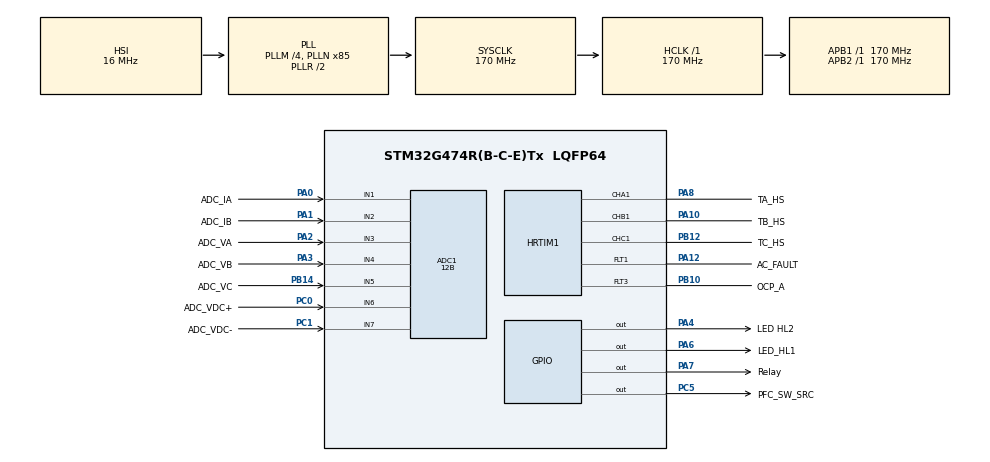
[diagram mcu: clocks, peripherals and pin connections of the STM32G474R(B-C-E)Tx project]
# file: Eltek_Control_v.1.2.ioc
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ADC1.AWD1HighThreshold=0x0
ADC1.AWD1LowThreshold=0x0
ADC1.Channel-26\#ChannelRegularConversion=ADC_CHANNEL_1
ADC1.Channel-27\#ChannelRegularConversion=ADC_CHANNEL_2
ADC1.Channel-28\#ChannelRegularConversion=ADC_CHANNEL_3
ADC1.Channel-29\#ChannelRegularConversion=ADC_CHANNEL_4
ADC1.Channel-30\#ChannelRegularConversion=ADC_CHANNEL_6
ADC1.Channel-31\#ChannelRegularConversion=ADC_CHANNEL_7
ADC1.Channel-32\#ChannelRegularConversion=ADC_CHANNEL_TEMPSENSOR_ADC1
ADC1.Channel-34\#ChannelRegularConversion=ADC_CHANNEL_1
ADC1.ClockPrescaler=ADC_CLOCK_SYNC_PCLK_DIV4
ADC1.ContinuousConvMode=ENABLE
ADC1.DMAContinuousRequests=ENABLE
ADC1.DataAlign=ADC_DATAALIGN_RIGHT
ADC1.DiscontinuousConvMode=DISABLE
ADC1.EOCSelection=ADC_EOC_SINGLE_CONV
ADC1.EnableAnalogWatchDog1=true
ADC1.EnableInjectedConversion=DISABLE
ADC1.EnableRegularConversion=ENABLE
ADC1.GainCompensation=0
ADC1.LowPowerAutoWait=DISABLE
ADC1.NbrOfConversion=8
ADC1.NbrOfConversionFlag=1
ADC1.OffsetNumber-26\#ChannelRegularConversion=ADC_OFFSET_NONE
ADC1.OffsetNumber-27\#ChannelRegularConversion=ADC_OFFSET_NONE
ADC1.OffsetNumber-28\#ChannelRegularConversion=ADC_OFFSET_NONE
ADC1.OffsetNumber-29\#ChannelRegularConversion=ADC_OFFSET_NONE
ADC1.OffsetNumber-30\#ChannelRegularConversion=ADC_OFFSET_NONE
ADC1.OffsetNumber-31\#ChannelRegularConversion=ADC_OFFSET_NONE
ADC1.OffsetNumber-32\#ChannelRegularConversion=ADC_OFFSET_NONE
ADC1.OffsetNumber-34\#ChannelRegularConversion=ADC_OFFSET_NONE
ADC1.Overrun=ADC_OVR_DATA_PRESERVED
ADC1.OversamplingMode=ENABLE
ADC1.Rank-26\#ChannelRegularConversion=1
ADC1.Rank-27\#ChannelRegularConversion=2
ADC1.Rank-28\#ChannelRegularConversion=3
ADC1.Rank-29\#ChannelRegularConversion=4
ADC1.Rank-30\#ChannelRegularConversion=5
ADC1.Rank-31\#ChannelRegularConversion=6
ADC1.Rank-32\#ChannelRegularConversion=7
ADC1.Rank-34\#ChannelRegularConversion=8
ADC1.Ratio=ADC_OVERSAMPLING_RATIO_8
ADC1.Resolution=ADC_RESOLUTION_12B
ADC1.RightBitShift=ADC_RIGHTBITSHIFT_3
ADC1.SamplingTime-26\#ChannelRegularConversion=ADC_SAMPLETIME_6CYCLES_5
ADC1.SamplingTime-27\#ChannelRegularConversion=ADC_SAMPLETIME_6CYCLES_5
ADC1.SamplingTime-28\#ChannelRegularConversion=ADC_SAMPLETIME_6CYCLES_5
ADC1.SamplingTime-29\#ChannelRegularConversion=ADC_SAMPLETIME_12CYCLES_5
ADC1.SamplingTime-30\#ChannelRegularConversion=ADC_SAMPLETIME_12CYCLES_5
ADC1.SamplingTime-31\#ChannelRegularConversion=ADC_SAMPLETIME_12CYCLES_5
ADC1.SamplingTime-32\#ChannelRegularConversion=ADC_SAMPLETIME_12CYCLES_5
ADC1.SamplingTime-34\#ChannelRegularConversion=ADC_SAMPLETIME_2CYCLES_5
ADC1.ScanConvMode=ADC_SCAN_ENABLE
ADC1.WatchdogChannel=ADC_CHANNEL_1
ADC1.master=1
ADC5.Channel-67\#ChannelRegularConversion=ADC_CHANNEL_TEMPSENSOR_ADC5
ADC5.NbrOfConversionFlag=1
ADC5.OffsetNumber-67\#ChannelRegularConversion=ADC_OFFSET_NONE
ADC5.Rank-67\#ChannelRegularConversion=1
ADC5.SamplingTime-67\#ChannelRegularConversion=ADC_SAMPLETIME_2CYCLES_5
Dma.ADC1.0.Direction=DMA_PERIPH_TO_MEMORY
Dma.ADC1.0.EventEnable=DISABLE
Dma.ADC1.0.Instance=DMA1_Channel4
Dma.ADC1.0.MemDataAlignment=DMA_MDATAALIGN_WORD
Dma.ADC1.0.MemInc=DMA_MINC_ENABLE
Dma.ADC1.0.Mode=DMA_CIRCULAR
Dma.ADC1.0.PeriphDataAlignment=DMA_PDATAALIGN_WORD
Dma.ADC1.0.PeriphInc=DMA_PINC_DISABLE
Dma.ADC1.0.Polarity=HAL_DMAMUX_REQ_GEN_RISING
Dma.ADC1.0.Priority=DMA_PRIORITY_LOW
Dma.ADC1.0.RequestNumber=1
Dma.ADC1.0.SignalID=HAL_DMAMUX1_REQ_GEN_EXTI0
Dma.ADC1.0.SyncEnable=DISABLE
Dma.ADC1.0.SyncPolarity=HAL_DMAMUX_SYNC_NO_EVENT
Dma.ADC1.0.SyncRequestNumber=1
Dma.ADC1.0.SyncSignalID=NONE
Dma.HRTIM1_A.1.Direction=DMA_MEMORY_TO_PERIPH
Dma.HRTIM1_A.1.EventEnable=ENABLE
Dma.HRTIM1_A.1.Instance=DMA1_Channel1
Dma.HRTIM1_A.1.MemDataAlignment=DMA_MDATAALIGN_WORD
Dma.HRTIM1_A.1.MemInc=DMA_MINC_ENABLE
Dma.HRTIM1_A.1.Mode=DMA_CIRCULAR
Dma.HRTIM1_A.1.PeriphDataAlignment=DMA_PDATAALIGN_WORD
Dma.HRTIM1_A.1.PeriphInc=DMA_PINC_DISABLE
Dma.HRTIM1_A.1.Polarity=HAL_DMAMUX_REQ_GEN_RISING
Dma.HRTIM1_A.1.Priority=DMA_PRIORITY_HIGH
Dma.HRTIM1_A.1.RequestNumber=1
Dma.HRTIM1_A.1.SignalID=NONE
Dma.HRTIM1_A.1.SyncEnable=DISABLE
Dma.HRTIM1_A.1.SyncPolarity=HAL_DMAMUX_SYNC_NO_EVENT
Dma.HRTIM1_A.1.SyncRequestNumber=1
Dma.HRTIM1_A.1.SyncSignalID=NONE
Dma.HRTIM1_B.2.Direction=DMA_MEMORY_TO_PERIPH
Dma.HRTIM1_B.2.EventEnable=ENABLE
Dma.HRTIM1_B.2.Instance=DMA1_Channel2
Dma.HRTIM1_B.2.MemDataAlignment=DMA_MDATAALIGN_WORD
Dma.HRTIM1_B.2.MemInc=DMA_MINC_ENABLE
Dma.HRTIM1_B.2.Mode=DMA_CIRCULAR
Dma.HRTIM1_B.2.PeriphDataAlignment=DMA_PDATAALIGN_WORD
Dma.HRTIM1_B.2.PeriphInc=DMA_PINC_DISABLE
Dma.HRTIM1_B.2.Polarity=HAL_DMAMUX_REQ_GEN_RISING
Dma.HRTIM1_B.2.Priority=DMA_PRIORITY_HIGH
Dma.HRTIM1_B.2.RequestNumber=1
Dma.HRTIM1_B.2.SignalID=NONE
Dma.HRTIM1_B.2.SyncEnable=DISABLE
Dma.HRTIM1_B.2.SyncPolarity=HAL_DMAMUX_SYNC_NO_EVENT
Dma.HRTIM1_B.2.SyncRequestNumber=1
Dma.HRTIM1_B.2.SyncSignalID=NONE
Dma.HRTIM1_C.3.Direction=DMA_MEMORY_TO_PERIPH
Dma.HRTIM1_C.3.EventEnable=ENABLE
Dma.HRTIM1_C.3.Instance=DMA1_Channel3
Dma.HRTIM1_C.3.MemDataAlignment=DMA_MDATAALIGN_WORD
Dma.HRTIM1_C.3.MemInc=DMA_MINC_ENABLE
Dma.HRTIM1_C.3.Mode=DMA_CIRCULAR
Dma.HRTIM1_C.3.PeriphDataAlignment=DMA_PDATAALIGN_WORD
Dma.HRTIM1_C.3.PeriphInc=DMA_PINC_DISABLE
Dma.HRTIM1_C.3.Polarity=HAL_DMAMUX_REQ_GEN_RISING
Dma.HRTIM1_C.3.Priority=DMA_PRIORITY_HIGH
Dma.HRTIM1_C.3.RequestNumber=1
Dma.HRTIM1_C.3.SignalID=NONE
Dma.HRTIM1_C.3.SyncEnable=DISABLE
Dma.HRTIM1_C.3.SyncPolarity=HAL_DMAMUX_SYNC_NO_EVENT
Dma.HRTIM1_C.3.SyncRequestNumber=1
Dma.HRTIM1_C.3.SyncSignalID=NONE
Dma.Request0=ADC1
Dma.Request1=HRTIM1_A
Dma.Request2=HRTIM1_B
Dma.Request3=HRTIM1_C
HRTIM1.CompareUnit1-Output_TA1=HRTIM_COMPAREUNIT_1
HRTIM1.CompareUnit1-Output_TB1=HRTIM_COMPAREUNIT_1
HRTIM1.CompareUnit1-Output_TC1=HRTIM_COMPAREUNIT_1
HRTIM1.CompareUnit2-Output_TA1=__NULL
HRTIM1.CompareUnit3-Output_TA1=HRTIM_COMPAREUNIT_3
HRTIM1.CompareUnit3-Output_TB1=HRTIM_COMPAREUNIT_3
HRTIM1.CompareUnit3-Output_TC1=HRTIM_COMPAREUNIT_3
HRTIM1.CompareValue1-Output_TA1=0x5000
HRTIM1.CompareValue1-Output_TB1=0x2000
HRTIM1.CompareValue1-Output_TC1=0x8000
HRTIM1.CompareValue3-Output_TA1=5
HRTIM1.CompareValue3-Output_TB1=5
HRTIM1.CompareValue3-Output_TC1=5
HRTIM1.DMADstAddress-Output_TA1=(uint32_t)&DMA_HRTIM_DST
HRTIM1.DMARequests1-Output_TA1=HRTIM_TIM_DMA_RST
HRTIM1.DMARequests1-Output_TB1=HRTIM_TIM_DMA_RST
HRTIM1.DMARequests1-Output_TC1=HRTIM_TIM_DMA_RST
HRTIM1.DMASrcAddress-Output_TA1=(uint32_t)&DMA_HRTIM_SRC
HRTIM1.Enable_FaultLine1=HRTIM_FAULTMODECTL_ENABLED
HRTIM1.Enable_FaultLine3=HRTIM_FAULTMODECTL_ENABLED
HRTIM1.FaultEnable_Source1-Output_TA1=HRTIM_TIMFAULTENABLE_FAULT1
HRTIM1.FaultEnable_Source1-Output_TB1=HRTIM_TIMFAULTENABLE_FAULT1
HRTIM1.FaultEnable_Source1-Output_TC1=HRTIM_TIMFAULTENABLE_FAULT1
HRTIM1.FaultEnable_Source2-Output_TA1=HRTIM_TIMFAULTENABLE_FAULT3
HRTIM1.FaultEnable_Source2-Output_TB1=HRTIM_TIMFAULTENABLE_FAULT3
HRTIM1.FaultEnable_Source2-Output_TC1=HRTIM_TIMFAULTENABLE_FAULT3
HRTIM1.FaultLevel1-Output_TA1=HRTIM_OUTPUTFAULTLEVEL_INACTIVE
HRTIM1.FaultLevel1-Output_TB1=HRTIM_OUTPUTFAULTLEVEL_INACTIVE
HRTIM1.FaultLevel1-Output_TC1=HRTIM_OUTPUTFAULTLEVEL_INACTIVE
HRTIM1.IdleMode1-Output_TA1=HRTIM_OUTPUTIDLEMODE_NONE
HRTIM1.NumberDMARequests_TA=1
HRTIM1.NumberDMARequests_TB=1
HRTIM1.NumberDMARequests_TC=1
HRTIM1.NumberFaultEnable-Output_TA1=2
HRTIM1.NumberFaultEnable-Output_TB1=2
HRTIM1.NumberFaultEnable-Output_TC1=2
HRTIM1.NumberResetSource1-Output_TA1=1
HRTIM1.NumberResetSource1-Output_TB1=1
HRTIM1.NumberResetSource1-Output_TC1=1
HRTIM1.NumberSetSource1-Output_TA1=1
HRTIM1.NumberSetSource1-Output_TB1=1
HRTIM1.NumberSetSource1-Output_TC1=1
HRTIM1.Periode_TA=34000
HRTIM1.Periode_TB=34000
HRTIM1.Periode_TC=34000
HRTIM1.PreloadEnable-Output_TA1=HRTIM_PRELOAD_ENABLED
HRTIM1.PreloadEnable-Output_TB1=HRTIM_PRELOAD_ENABLED
HRTIM1.PreloadEnable-Output_TC1=HRTIM_PRELOAD_ENABLED
HRTIM1.PrescalerRatio_TA=HRTIM_PRESCALERRATIO_MUL8
HRTIM1.PrescalerRatio_TB=HRTIM_PRESCALERRATIO_MUL8
HRTIM1.PrescalerRatio_TC=HRTIM_PRESCALERRATIO_MUL8
HRTIM1.ResetOutput1_Source1-Output_TA1=HRTIM_OUTPUTRESET_TIMCMP1
HRTIM1.ResetOutput1_Source1-Output_TB1=HRTIM_OUTPUTRESET_TIMCMP1
HRTIM1.ResetOutput1_Source1-Output_TC1=HRTIM_OUTPUTRESET_TIMCMP1
HRTIM1.ResetUpdate-Output_TA1=HRTIM_TIMUPDATEONRESET_ENABLED
HRTIM1.SetOutput1_Source1-Output_TA1=HRTIM_OUTPUTSET_TIMPER
HRTIM1.SetOutput1_Source1-Output_TB1=HRTIM_OUTPUTSET_TIMPER
HRTIM1.SetOutput1_Source1-Output_TC1=HRTIM_OUTPUTSET_TIMPER
Mcu.Family=STM32G4
Mcu.Name=STM32G474R(B-C-E)Tx
Mcu.Package=LQFP64
Mcu.UserConstants=uwPrescalerValueTIM8,0;uwPrescalerValueTIM1,0;PeriodTIM3,0
NVIC.DMA1_Channel1_IRQn=true\:0\:0\:false\:false\:true\:false\:true
NVIC.DMA1_Channel2_IRQn=true\:0\:0\:false\:false\:true\:false\:true
NVIC.DMA1_Channel3_IRQn=true\:0\:0\:false\:false\:true\:false\:true
NVIC.DMA1_Channel4_IRQn=true\:0\:0\:false\:false\:true\:false\:true
NVIC.DMAMUX_OVR_IRQn=true\:0\:0\:false\:false\:true\:false\:true
NVIC.HRTIM1_FLT_IRQn=true\:0\:0\:false\:false\:true\:true\:true
NVIC.PriorityGroup=NVIC_PRIORITYGROUP_4
NVIC.TIM2_IRQn=true\:0\:0\:true\:false\:true\:true\:true
NVIC.TIM3_IRQn=true\:0\:0\:true\:false\:true\:true\:true
NVIC.TIM6_DAC_IRQn=true\:0\:0\:false\:false\:true\:true\:true
PA0.GPIO_Label=ADC_IA
PA0.Mode=IN1-Single-Ended
PA0.Signal=ADC1_IN1
PA1.GPIO_Label=ADC_IB
PA1.Mode=IN2-Single-Ended
PA1.Signal=ADC1_IN2
PA10.GPIO_Label=TB_HS
PA10.Mode=Output_TB1
PA10.Signal=HRTIM1_CHB1
PA12.GPIO_Label=AC_FAULT
PA12.Mode=Fault_Enable1
PA12.Signal=HRTIM1_FLT1
PA13.Mode=JTAG_5_pins
PA13.Signal=SYS_JTMS-SWDIO
PA14.Mode=JTAG_5_pins
PA14.Signal=SYS_JTCK-SWCLK
PA15.Mode=JTAG_5_pins
PA15.Signal=SYS_JTDI
PA2.GPIO_Label=ADC_VA
PA2.Mode=IN3-Single-Ended
PA2.Signal=ADC1_IN3
PA3.GPIO_Label=ADC_VB
PA3.Mode=IN4-Single-Ended
PA3.Signal=ADC1_IN4
PA4.GPIO_Label=LED HL2
PA4.Signal=GPIO_Output
PA6.GPIO_Label=LED_HL1
PA6.Signal=GPIO_Output
PA7.GPIO_Label=Relay
PA7.Signal=GPIO_Output
PA8.GPIO_Label=TA_HS
PA8.Mode=Output_TA1
PA8.Signal=HRTIM1_CHA1
PB10.GPIO_Label=OCP_A
PB10.Mode=Fault_Enable3
PB10.Signal=HRTIM1_FLT3
PB12.GPIO_Label=TC_HS
PB12.Mode=Output_TC1
PB12.Signal=HRTIM1_CHC1
PB14.GPIO_Label=ADC_VC
PB14.Mode=IN5-Single-Ended
PB14.Signal=ADC1_IN5
PB3.Mode=JTAG_5_pins
PB3.Signal=SYS_JTDO-SWO
PB4.Mode=JTAG_5_pins
PB4.Signal=SYS_JTRST
PC0.GPIO_Label=ADC_VDC+
PC0.Mode=IN6-Single-Ended
PC0.Signal=ADC1_IN6
PC1.GPIO_Label=ADC_VDC-
PC1.Mode=IN7-Single-Ended
PC1.Signal=ADC1_IN7
PC5.GPIO_Label=PFC_SW_SRC
PC5.Signal=GPIO_Output
ProjectManager.HeapSize=0x200
ProjectManager.StackSize=0x400
ProjectManager.TargetToolchain=STM32CubeIDE
RCC.ADC12Freq_Value=170000000
RCC.ADC345Freq_Value=170000000
RCC.AHBFreq_Value=170000000
RCC.APB1Freq_Value=170000000
RCC.APB1TimFreq_Value=170000000
RCC.APB2Freq_Value=170000000
RCC.APB2TimFreq_Value=170000000
RCC.CK48CLockSelection=RCC_USBCLKSOURCE_HSI48
RCC.CortexFreq_Value=170000000
RCC.EXTERNAL_CLOCK_VALUE=12288000
RCC.HCLKFreq_Value=170000000
RCC.HSE_VALUE=8000000
RCC.HSI48_VALUE=48000000
RCC.HSI_VALUE=16000000
RCC.LSE_VALUE=32768
RCC.PLLM=RCC_PLLM_DIV4
RCC.PLLN=85
RCC.SYSCLKFreq_VALUE=170000000
RCC.SYSCLKSource=RCC_SYSCLKSOURCE_PLLCLK
RCC.USBFreq_Value=48000000
RCC.VCOOutputFreq_Value=340000000
TIM2.AutoReloadPreload=TIM_AUTORELOAD_PRELOAD_ENABLE
TIM2.PeriodNoDither=0
TIM2.TIM_MasterOutputTrigger=TIM_TRGO_OC1
TIM3.AutoReloadPreload=TIM_AUTORELOAD_PRELOAD_ENABLE
TIM3.PeriodNoDither=PeriodTIM3
TIM6.AutoReloadPreload=TIM_AUTORELOAD_PRELOAD_ENABLE
TIM6.PeriodNoDither=32000
TIM6.TIM_MasterOutputTrigger=TIM_TRGO_UPDATE
VP_ADC1_TempSens_Input.Mode=IN-TempSens
VP_ADC5_TempSens_Input.Mode=IN-TempSens
VP_ADC5_Vbat_Input.Mode=IN-Vbat
VP_ADC5_Vref_Input.Mode=IN-Vrefint
VP_CORDIC_VS_CORDIC.Mode=CORDIC_Activate
VP_FMAC_VS_FMAC.Mode=FMAC_Activate
VP_RNG_VS_RNG.Mode=RNG_Activate
VP_SYS_VS_DBSignals.Mode=DisableDeadBatterySignals
VP_TIM15_VS_ClockSourceINT.Mode=Internal
VP_TIM2_VS_ClockSourceINT.Mode=Internal
VP_TIM3_VS_ClockSourceINT.Mode=Internal
VP_TIM6_VS_ClockSourceINT.Mode=Enable_Timer
board=custom

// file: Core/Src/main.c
/* USER CODE BEGIN Header */
/**
  ******************************************************************************
  * @file           : main.c
  * @brief          : Main program body
  ******************************************************************************
  * @attention
  *
  * <h2><center>&copy; Copyright (c) 2021 STMicroelectronics.
  * All rights reserved.</center></h2>
  *
  * This software component is licensed by ST under BSD 3-Clause license,
  * the "License"; You may not use this file except in compliance with the
  * License. You may obtain a copy of the License at:
  *                        opensource.org/licenses/BSD-3-Clause
  *
  ******************************************************************************
  */
/* USER CODE END Header */
#include "main.h"
#include "adc.h"
#include "cordic.h"
#include "dma.h"
#include "fmac.h"
#include "hrtim.h"
#include "rng.h"
#include "tim.h"
#include "gpio.h"

/* USER CODE BEGIN Includes */

#include "DPC_Pid.h"
#include "DPC_Loopctrl.h"
#include "DPC_Datacollector.h"
#include "DPC_Transforms.h"
#include "DPC_PWMConverter.h"
#include "DPC_PLL.h"
#include "DPC_adc_converter.h"
#include "DPC_Telemetry.h"
#include "DPC_Timeout.h"
#include "DPC_Math.h"
#include "DPC_FSM.h"
#include "DPC_Miscellaneous.h"
#include "DPC_Faulterror.h"

/* USER CODE END Includes */

/* USER CODE BEGIN PV */

float Service_data[20][1000];
uint16_t Service_step;
uint16_t Service_counter;
uint32_t Prev_Saturation;
uint32_t Flag;
uint32_t Flag2;
uint16_t Relay_State;
uint32_t Timeout[5];
TO_RET_STATE TO_State;
TO_RET_STATE TO_State2;
float ADC_AC_Current[3][200];
uint32_t Period_Counter;

/*!FSM*/
PC_State_TypeDef PC_State;                                      /*!< */
Run_State_TypeDef FSM_Run_State;                                /*!< */

/*!DeadTime variables*/
uint8_t DTG_bin;                                                /*!< DTG[7:0] Dead-time generator setup (bits of TIMx_BDTR) expressed in HEX*/

/*!Telemetry global variables*/
uint8_t pDataRx[12];                                            /*!< DMA_RX Buffer*/
uint8_t pDataTx[12];                                            /*!< DMA_TX Buffer*/
uint8_t DataTxLen = 12;                                         /*!< TX Lengt Data*/

/*!Reference Frame Transformation variables*/
TRANSFORM_QDO_t V_DQO_CTRL;                                     /*!< */
TRANSFORM_ABC_t V_ABC_CTRL;                                     /*!< */
TRANSFORM_QDO_t Voltage_qdo;                                    /*!< */
TRANSFORM_QDO_t Current_qdo;                                    /*!< */
TRANSFORM_ABC_t Vabc_temp;                                      /*!< */
TRANSFORM_ABC_t Iabc_temp;                                      /*!< */
TRANSFORM_ABC_t Vabc_Phy;                                       /*!< */
TRANSFORM_ABC_t Iabc_Phy;                                       /*!< */
TRANSFORM_QDO_t Voltage_qdo_Phy;                                /*!< */
TRANSFORM_QDO_t Current_qdo_Phy;                                /*!< */

/*!ADC Sensing variables*/
uint32_t p_ADC1_Data[ADC1_CHs];                                 /*!< */
uint32_t p_ADC2_Data[ADC2_CHs];                                 /*!< */

/*!MISC variables*/
DPC_Load_Status_TypeDef Status_Load;                            /*!< */
DPC_Load_TypeDef DPC_Load;                                      /*!< */
DPC_Source_Status_TypeDef Status_Source;                        /*!< */
DPC_Load_Limit_TypeDef DC_Load_Limit;                           /*!< */
DPC_Source_Limit_TypeDef AC_Source_Limit;                       /*!< */
DPC_Source_TypeDef AC_SOURCE;                                   /*!< */

/*!APPL Timers*/
uint32_t APPL_PERIOD_COUNTER;                                   /*!< */
uint32_t APPL2_PERIOD_COUNTER;                                  /*!< */
uint32_t PeriodTIM2;                                            /*!< */
uint32_t PeriodTIM6;                                            /*!< */

/*!PWM Timers*/
uint32_t f_tim_ket_ck;                                          /*!< Represent frequency Internal clock source (tim_ker_ck) expressed in Hz - see: pag-1063 RM0440 Rev1  */
float t_tim_ket_ck;                                             /*!< Used in DeadTime managment [Sec]*/
uint32_t PWM_FREQ_DESIDERED;                                    /*!< Switching Frequency of converter expressed in [Hz]*/
uint32_t PWM_PERIOD_COUNTER  ;                                   /*!< PWM Period Timer Value [Ticks]*/
uint32_t PeriodTIM1;                                            /*!< Period of the TIM1 (PWM Frequency)*/
uint32_t PeriodTIM8;                                            /*!< Period of the TIM8 (PWM Frequency)*/
DPC_PWM_TypeDef tDPC_PWM;                                       /*!< */
static DMA_PWMDUTY_STRUCT DMA_HRTIM_SRC;

/*!PLL*/
float theta_out_pll;                                            /*!< pointer to theta val output variable [Normalized 0-1].*/
PLL_Struct PLL_CONVERTER;                                       /*!< */
PLL_Struct Timestamp_PLL_CONVERTER;                             /*!< */
float omega_out_pll;                                            /*!< */
VoltageAC_qd_PLL_Struct VOLTAGE_AC_qd_IN_NORM;                  /*!< */
STATUS_PLL_TypeDef PLL_Status;                                  /*!< */

/*!ADC cooked*/
DPC_ADC_Conf_TypeDef DPC_ADC_Conf;                              /*!< */
VoltageAC_ADC_NORM_Struct VOLTAGE_ADC_AC_IN_NORM;               /*!< AC Voltage sensing ADC value expressed in [-1,1] */
VoltageAC_ADC_NORM_Struct VOLTAGE_ADC_AC_IN_PHY;                /*!< AC Voltage sensing ADC value expressed in [Volt] */
VoltageAC_ADC_NORM_Struct VOLTAGE_ADC_AC_IN_BITS;               /*!< AC Voltage sensing ADC value expressed in [ADC_12bits] */
CurrentAC_ADC_NORM_Struct CURRENT_ADC_AC_IN_NORM;               /*!< AC Current sensing ADC value expressed in [-1,1] */
CurrentAC_ADC_NORM_Struct CURRENT_ADC_AC_IN_PHY;                /*!< AC Current sensing ADC value expressed in [Ampere] */
CurrentAC_ADC_NORM_Struct CURRENT_ADC_AC_IN_BITS;               /*!< AC Current sensing ADC value expressed in [ADC_12bits] */
VoltageDC_ADC_NORM_Struct VOLTAGE_ADC_DC_IN_NORM;               /*!< DC Voltage sensing ADC value expressed in [-1,1] */
VoltageDC_ADC_NORM_Struct VOLTAGE_ADC_DC_IN_PHY;                /*!< DC Voltage sensing ADC value expressed in [Volt] */
VoltageDC_ADC_NORM_Struct VOLTAGE_ADC_DC_IN_BITS;               /*!< DC Voltage sensing ADC value expressed in [ADC_12bits] */
CurrentDC_ADC_NORM_Struct_t CURRENT_ADC_DC_IN_NORM;             /*!< DC Current sensing ADC value expressed in [-1,1] */
CurrentDC_ADC_NORM_Struct_t CURRENT_ADC_DC_IN_PHY;              /*!< DC Current sensing ADC value expressed in [Ampere] */
CurrentDC_ADC_NORM_Struct_t CURRENT_ADC_DC_IN_BITS;             /*!< DC Current sensing ADC value expressed in [ADC_12bits] */

CurrentAC_ADC_NORM_Struct CURRENT_ADC_AC_IN_PHY_MAX;
CurrentAC_ADC_NORM_Struct CURRENT_ADC_AC_IN_PHY_MIN;
CurrentAC_ADC_NORM_Struct CURRENT_ADC_AC_IN_PHY_RMS;

/*!Control Loop variables*/
PFC_CTRL_t  pPFC_CTRL;                                          /*!< */
PI_STRUCT_t pPI_VDC_CTRL;                                       /*!< */
VOLTAGECTRL_Struct VOLTAGECTRL;                                 /*!< */
CDC_Struct CDC;                                                 /*!< */
INRUSH_STRUCT INRUSH_CTRL;                                      /*!< */
BURST_STRUCT BURST_CTRL;                                        /*!< */
BURST_STRUCT STARTBURST_CTRL;
INRUSH_StatusTypeDef INRUSH_State;                              /*!< */
BURST_StatusTypeDef BURST_State;                                /*!< */
BURST_StatusTypeDef STARTBURST_State;                           /*!< */

/*!DAC Channel Struct Declaration*/
DAC_Channel_STRUCT DAC_CH;                                      /*!< */

/*!LUTs Struct Declaration*/
lutSTRUCT LUT_CONVERTER;                                        /*!< */
treephaseSTRUCT LUT_3PH;                                        /*!< */

/*!Timestamps Declaration*/
FlagStatus Trigger_Timestamp=SET;                               /*!< */

volatile DPC_FAULTERROR_LIST_TypeDef Error;

/* USER CODE END PV */

void SystemClock_Config(void);
/* USER CODE BEGIN PFP */

void DPC_MISC_Analog_Start(void);

/* USER CODE END PFP */

int main(void)
{

  /* MCU Configuration--------------------------------------------------------*/

  /* Reset of all peripherals, Initializes the Flash interface and the Systick. */
  HAL_Init();

  /* Configure the system clock */
  SystemClock_Config();

  /* Initialize all configured peripherals */
  MX_GPIO_Init();
  MX_DMA_Init();
  MX_TIM2_Init();
  MX_TIM3_Init();
  MX_CORDIC_Init();
  MX_ADC1_Init();
  MX_ADC5_Init();
  MX_RNG_Init();
  MX_TIM6_Init();
  MX_HRTIM1_Init();
  MX_TIM15_Init();
  MX_FMAC_Init();
  /* USER CODE BEGIN 2 */
  PWM_PERIOD_COUNTER = 10000;

  DPC_ADC_Init(&DPC_ADC_Conf,G_VAC,B_VAC,G_IAC,B_IAC,G_VDC,B_VDC,G_IDC,B_IDC);

  DPC_MISC_APPL_Timer_Init(APPL_Tim1, RefreshTime_DESIDERED);   //timer setting                                                                                                                                        /// Function used to Init the timers APP_TIM1 (htim2) used in the power application
  DPC_MISC_APPL_Timer_Init(APPL_Tim2, RefreshTime_TO_DESIDERED);                                                                                                                                        /// Function used to Init the timers APP_TIM1 (htim3) used in the power application
  DPC_MISC_APPL_Timer_Init(APPL_Tim3, RefreshTime2_DESIDERED);

  DPC_MISC_Analog_Start();

  DPC_PLL_Init(&PLL_CONVERTER,PLL_KP, PLL_KI, DPC_PLL_TS,PLL_PHI_2pi,PLL_DELTA_F,PLL_FF_Hz,DPC_PLL_SAT_EN,DPC_PLL_PIsat_up,DPC_PLL_PIsat_down);                                                         /// INIT PLL
  DPC_PI_Init(&CDC.pPI_ID_CURR_CTRL,DPC_ID_KP,DPC_ID_KI,DPC_PI_ID_TS,DPC_PI_ID_sat_up,DPC_PI_ID_sat_down,DPC_PI_ID_SAT_EN,DPC_PI_ID_AW_EN,DPC_PI_ID_AWTG);                                              /// INIT PI CURRENT CTRL D
  DPC_PI_Init(&CDC.pPI_IQ_CURR_CTRL,DPC_IQ_KP,DPC_IQ_KI,DPC_PI_IQ_TS,DPC_PI_IQ_sat_up,DPC_PI_IQ_sat_down,DPC_PI_IQ_SAT_EN,DPC_PI_IQ_AW_EN,DPC_PI_IQ_AWTG);                                              /// INIT PI CURRENT CTRL Q
  DPC_PI_Init(&pPI_VDC_CTRL,DPC_VCTRL_KP,DPC_VCTRL_KI,DPC_PI_VDC_TS,DPC_VCTRL_PI_sat_up,DPC_VCTRL_PI_sat_down,DPC_VCTRL_PI_SAT_EN,DPC_VCTRL_PI_AW_EN,DPC_VCTRL_PI_AWTG);                                /// INIT PI VOLTAGE CTRL
  DPC_LPCNTRL_CDC_Init(&CDC,DPC_PLL_OMEGAGRID,DPC_INDUCTOR,CDC_FF_Init,CDC_DEC_INIT,CDC_VDC_FF_INIT);
  DPC_LPCNTRL_BURST_Init(&BURST_CTRL,DPC_BURST_EN,RUN_BURST_VREF_V,RUN_BURST_VHIST,DPC_NO_LOAD_CURR,DPC_LOW_LOAD_CURR,DPC_BURST_DUTY_NL,DPC_BURST_DUTY_LL,&DPC_ADC_Conf);                               /// INIT BURST CONTROL
  DPC_LPCNTRL_BURST_Init(&STARTBURST_CTRL,DPC_STARTBURST_EN,STARTBURST_VREF_V,START_BURST_VHIST,DPC_START_NO_LOAD_CURR,DPC_START_LOW_LOAD_CURR,DPC_STARTBURST_DUTY,0,&DPC_ADC_Conf);                    /// INIT STARTBURST CONTROL
  DPC_LPCNTRL_Inrush_Init(&INRUSH_CTRL,INRUSH_VREF_V,INRUSH_VLIM,DPC_NO_LOAD_CURR,DPC_INRS_EN,&DPC_ADC_Conf);

  DPC_MISC_ACSource_Init(&AC_Source_Limit,DPC_VAC_PK_OV,DPC_VAC_PK_UV,DPC_VAC_PK_UVLO,DPC_VAC_MIN,DPC_IAC_MAX,&DPC_ADC_Conf);                                                                           /// INIT AC_Source
  DPC_MISC_DCLoad_Init(&DC_Load_Limit,DPC_VDC_OV,DPC_VCAP_LIM,DPC_NO_LOAD_CURR,DPC_LOW_LOAD_CURR,DPC_OVER_LOAD_CURR,&DPC_ADC_Conf);

  DPC_LPCNTRL_PFC_Init(&pPFC_CTRL,DPC_CTRL_INIT,DPC_PFC_VDC,&DPC_ADC_Conf);
  DPC_PWM_Init(DPC_BURST_PWM_FREQ,PWM_FREQ,DPC_PWM_INIT,&tDPC_PWM, &DMA_HRTIM_SRC);
//  DPC_FSM_State_Set(DPC_FSM_WAIT);
//
  DPC_MISC_Appl_Timer_Start();
  DPC_TO_Init();
  /* USER CODE END 2 */

  /* Infinite loop */
  while (1)
  {

    /* USER CODE BEGIN 3 */

	  HAL_GPIO_WritePin(PFC_SW_SRC_GPIO_Port, PFC_SW_SRC_Pin, GPIO_PIN_SET);
	  //DPC_FSM_Application();
	  //DPC_PWM_OutEnable(&tDPC_PWM);
	  //HAL_HRTIM_SimplePWMStart(&hhrtim1, &PWM_Tim1, HRTIM_OUTPUT_TA1);
  }
  /* USER CODE END 3 */
}

void SystemClock_Config(void)
{
  RCC_OscInitTypeDef RCC_OscInitStruct = {0};
  RCC_ClkInitTypeDef RCC_ClkInitStruct = {0};
  RCC_PeriphCLKInitTypeDef PeriphClkInit = {0};

  /** Configure the main internal regulator output voltage
  */
  HAL_PWREx_ControlVoltageScaling(PWR_REGULATOR_VOLTAGE_SCALE1_BOOST);
  /** Initializes the RCC Oscillators according to the specified parameters
  * in the RCC_OscInitTypeDef structure.
  */
  RCC_OscInitStruct.OscillatorType = RCC_OSCILLATORTYPE_HSI|RCC_OSCILLATORTYPE_HSI48;
  RCC_OscInitStruct.HSIState = RCC_HSI_ON;
  RCC_OscInitStruct.HSICalibrationValue = RCC_HSICALIBRATION_DEFAULT;
  RCC_OscInitStruct.HSI48State = RCC_HSI48_ON;
  RCC_OscInitStruct.PLL.PLLState = RCC_PLL_ON;
  RCC_OscInitStruct.PLL.PLLSource = RCC_PLLSOURCE_HSI;
  RCC_OscInitStruct.PLL.PLLM = RCC_PLLM_DIV4;
  RCC_OscInitStruct.PLL.PLLN = 85;
  RCC_OscInitStruct.PLL.PLLP = RCC_PLLP_DIV2;
  RCC_OscInitStruct.PLL.PLLQ = RCC_PLLQ_DIV2;
  RCC_OscInitStruct.PLL.PLLR = RCC_PLLR_DIV2;
  if (HAL_RCC_OscConfig(&RCC_OscInitStruct) != HAL_OK)
  {
    Error_Handler();
  }
  /** Initializes the CPU, AHB and APB buses clocks
  */
  RCC_ClkInitStruct.ClockType = RCC_CLOCKTYPE_HCLK|RCC_CLOCKTYPE_SYSCLK
                              |RCC_CLOCKTYPE_PCLK1|RCC_CLOCKTYPE_PCLK2;
  RCC_ClkInitStruct.SYSCLKSource = RCC_SYSCLKSOURCE_PLLCLK;
  RCC_ClkInitStruct.AHBCLKDivider = RCC_SYSCLK_DIV1;
  RCC_ClkInitStruct.APB1CLKDivider = RCC_HCLK_DIV1;
  RCC_ClkInitStruct.APB2CLKDivider = RCC_HCLK_DIV1;

  if (HAL_RCC_ClockConfig(&RCC_ClkInitStruct, FLASH_LATENCY_4) != HAL_OK)
  {
    Error_Handler();
  }
  /** Initializes the peripherals clocks
  */
  PeriphClkInit.PeriphClockSelection = RCC_PERIPHCLK_RNG|RCC_PERIPHCLK_ADC12
                              |RCC_PERIPHCLK_ADC345;
  PeriphClkInit.RngClockSelection = RCC_RNGCLKSOURCE_HSI48;
  PeriphClkInit.Adc12ClockSelection = RCC_ADC12CLKSOURCE_SYSCLK;
  PeriphClkInit.Adc345ClockSelection = RCC_ADC345CLKSOURCE_SYSCLK;
  if (HAL_RCCEx_PeriphCLKConfig(&PeriphClkInit) != HAL_OK)
  {
    Error_Handler();
  }
}

/* USER CODE BEGIN 4 */

/**
* @brief  Executes converter's state machine WAIT STate Function
* @param  None
* @retval true/false
*/
bool DPC_FSM_WAIT_Func(void)
{
  bool RetVal = false;

  DPC_Status_Plug_ACSource_TypeDef Status_Plug_ACSource;

  DPC_MISC_BLED_Set(&DPC_BLED_TIM,DPC_BLED_CH,BLED_Wait);
  //Status_Plug_ACSource=DPC_MISC_AC_SOURCE_Plugged(AC_Source_Limit);
  Status_Plug_ACSource=OK_Plug_ACSource;///Check AC SOURCE state reading AC Voltage and curent
  if(Status_Plug_ACSource==OK_Plug_ACSource){
    if(DPC_TO_Set(TO_IDLE,TO_IDLE_Tick)==TO_OUT_OK){                                       ///TimeOut of Idle State of the Finite State Machine
      RetVal = true;
      DPC_FSM_State_Set(DPC_FSM_IDLE);
    }
    else{
      RetVal = false;
      DPC_FSM_State_Set(DPC_FSM_STOP);
    }
  }
  else{
      RetVal = true;
      DPC_FSM_State_Set(DPC_FSM_WAIT);
  }
  return RetVal;
}

/**
* @brief  Executes converter's state machine IDLE STate Function
* @param  None
* @retval true/false
*/
bool DPC_FSM_IDLE_Func(void)
{
  bool RetVal = true;

  DPC_MISC_BLED_Set(&DPC_BLED_TIM,DPC_BLED_CH,BLED_Idle);                           ///DPC Bicolor LED SET to FSM_Idle

  if(DPC_TO_Check(TO_IDLE)==TO_OUT_TOOK || DPC_TO_Check(TO_IDLE)==TO_OUT_ERR){

//    DPC_MISC_RELAY_Cntl(RELAY_GRID_ABC, RELAY_OFF);
    if(Status_Source==OK_SOURCE){
      if(Status_Load==NO_LOAD){
        DPC_PWM_OutDisable();
        //      if(HAL_GPIO_ReadPin(USR_BTN_GPIO_Port, USR_BTN_Pin)){
        if (VOLTAGE_ADC_DC_IN_PHY.Vdc_tot > DPC_VDC){
        	DPC_FSM_State_Set(DPC_FSM_INIT);
        }
        //      }
      }

      else{
        RetVal = false;
        DPC_FLT_Faulterror_Set(ERROR_IDLE);
        DPC_FSM_State_Set(DPC_FSM_STOP);
      }
    }
  }

  return RetVal;
}

/**
* @brief  Executes converter's state machine INIT STate Function
* @param  None
* @retval true/false
*/
bool DPC_FSM_INIT_Func(void)
{
  bool RetVal = true;

  //DPC_MISC_BLED_Set(&DPC_BLED_TIM,DPC_BLED_CH,BLED_StartUp_inrush);                                                             ///DPC Bicolor LED SET to FSM_StartUp_inrush
  DPC_PWM_OutDisable();
  if (!Relay_State && Status_Source==OK_SOURCE ){
	  TO_State=DPC_TO_Check(RELAY_TO_CH);
	  if (TO_State==TO_OUT_TOOK){
		  Relay_State = 1;
		  HAL_GPIO_WritePin(GPIOA, Relay_Pin, GPIO_PIN_SET);
	  }
	  else if (TO_State==TO_OUT_OK){

	  }
	  else{
		  DPC_TO_Set(RELAY_TO_CH, RELAY_TIMEOUT);
	  }
  }
  else if(Status_Source==OK_SOURCE && Relay_State){

//    DPC_MISC_RELAY_Cntl(RELAY_GRID_ABC, RELAY_ON);
//    DPC_MISC_RELAY_Cntl(RELAY_SER_1, RELAY_OFF);                                                                            ///Insert Inrush current resistor opening the Inrush relays

    if (INRUSH_State==INRUSH_Disable){
		PC_State=FSM_StartUp_burst;
		DPC_FSM_State_Set(DPC_FSM_START);

//      DPC_MISC_RELAY_Cntl(RELAY_SER_1, RELAY_ON);                                                                           /// Bypass Resistors of the inrush current limiter
    }
    else {
      if(INRUSH_State==INRUSH_Start){
        //future check here
        INRUSH_State=INRUSH_Progress;
        DPC_FLT_Error_Reset(ERROR_PFC_UVLO);
      }
      else if(INRUSH_State==INRUSH_Progress){
        //!!!
    	//INRUSH_State=DPC_LPCNTRL_Inrush_Check((uint32_t*)Read_Volt_DC(),(uint32_t*)Read_Curr_DC(),&INRUSH_CTRL);            ///Inrush Check for the FSM
    	INRUSH_State=DPC_LPCNTRL_Inrush_Check((uint32_t*)Read_Volt_DC(),&CURRENT_ADC_AC_IN_PHY,&INRUSH_CTRL);
    	DPC_FLT_Error_Reset(ERROR_PFC_UVLO);
      }
      else if(INRUSH_State==INRUSH_Complete){

        PC_State=FSM_StartUp_burst;
        //DPC_MISC_RELAY_Cntl(RELAY_SER_1, RELAY_ON);                                                                         /// Bypass Resistors of the inrush current limiter
        DPC_FLT_Error_Reset(ERROR_PFC_UVLO);
        DPC_FLT_Error_Reset(FAULT_PLL_OR);
        DPC_FSM_State_Set(DPC_FSM_START);
      }
      else if(INRUSH_State==INRUSH_Error){

        RetVal = false;
        //      DPC_FLT_Faulterror_Set(ERROR_START_INRS);
        DPC_FLT_Faulterror_Set(FAULT_INR);
      }
      else if(INRUSH_State==INRUSH_Disable){
        PC_State=FSM_StartUp_burst;
        DPC_FSM_State_Set(DPC_FSM_START);
        //DPC_MISC_RELAY_Cntl(RELAY_SER_1, RELAY_ON);                                                                         /// Bypass Resistors of the inrush current limiter
      }
    }
  }
return RetVal;
}

/**
* @brief  Executes converter's state machine START STate Function
* @param  None
* @retval true/false
*/
bool DPC_FSM_START_Func(void)
{
  bool RetVal = true;

  TO_State=DPC_TO_Check(FSM_START_TO_CH);
  if (TO_State==TO_OUT_TOOK){
	  DPC_MISC_BLED_Set(&DPC_BLED_TIM,DPC_BLED_CH,BLED_StartUp_burst);                                                      ///DPC Bicolor LED SET to FSM_StartUp_burst
	//  HAL_GPIO_WritePin(FAN_GPIO_Port, FAN_Pin, GPIO_PIN_SET);                                                              ///

	  if(Status_Source==NO_SOURCE){
		  DPC_FLT_Faulterror_Set(ERROR_AC_OFF);
		  DPC_FSM_State_Set(DPC_FSM_ERROR);
	  }
	  if(BURST_State==BURST_Start){
	    //future check here
	    BURST_State=BURST_Progress;
	    DPC_FLT_Error_Reset(ERROR_PFC_UVLO);
	  }
	  else if(BURST_State==BURST_Progress){
	    //BURST_State=DPC_LPCNTRL_Burst_Check((uint32_t*)Read_Volt_DC(),(uint32_t*)Read_Curr_DC(),&STARTBURST_CTRL);        ///Burst Check for the FSM
		  BURST_State=DPC_LPCNTRL_Burst_Check((uint32_t*)Read_Volt_DC(),&CURRENT_ADC_AC_IN_PHY_RMS,&STARTBURST_CTRL);

		  DPC_FLT_Error_Reset(ERROR_PFC_UVLO);
	  }
	  else if(BURST_State==BURST_Complete){
	    DPC_FLT_Error_Reset(ERROR_PFC_UVLO);
	    PC_State=FSM_Run;
	    DPC_FSM_State_Set(DPC_FSM_RUN);
	    DPC_PWM_OutDisable();
	  }
	  else if(BURST_State==BURST_Error){
	    RetVal = false;
	    DPC_FSM_State_Set(DPC_FSM_STOP);
	    //      DPC_FLT_Faulterror_Set(ERROR_BRS);
	    DPC_FLT_Faulterror_Set(FAULT_BRS);
	  }
	  else if(BURST_State==BURST_Disable){
	    DPC_FSM_State_Set(DPC_FSM_RUN);
	  }
  }
  else if (TO_State==TO_OUT_OK){

  }
  else{
	  DPC_TO_Set(FSM_START_TO_CH, FSM_START_TIMEOUT);
  }

  return RetVal;
}

/**
* @brief  Executes converter's state machine RUN STate Function
* @param  None
* @retval true/false
*/
bool DPC_FSM_RUN_Func(void)
{
  bool RetVal = true;

  if(DPC_FLT_Faulterror_Check()){
      RetVal = false;
      DPC_FSM_State_Set(DPC_FSM_STOP);
  }
  else{

  //WIP - Insert Check Grid (PLL MUST BE SYNCHRONIZED)
  DPC_MISC_BLED_Set(&DPC_BLED_TIM,DPC_BLED_CH,BLED_Run);                                  ///DPC Bicolor LED SET to FSM_Run
  if(Status_Source==OK_SOURCE  && PLL_Status==PLL_SYNC){
    if(Status_Load==NO_LOAD){
      BURST_CTRL.BURST_Status=BURST_Run;
      FSM_Run_State=Run_Burst_Mode;
    }
    else if(Status_Load==LOW_LOAD){
      BURST_CTRL.BURST_Status=BURST_Run;
      FSM_Run_State=Run_Burst_Mode;
    }
    else if(Status_Load==ON_LOAD){
      FSM_Run_State=Run_PFC_Mode;
    }
//    else{
//      FSM_Run_State=Run_Idle;
//      RetVal = false;
//      DPC_FLT_Faulterror_Set(ERROR_PFC_RUN);
//      DPC_FSM_State_Set(DPC_FSM_STOP);
//    }
  }
  else{
    RetVal = false;
    DPC_FLT_Faulterror_Set(ERROR_PFC);
  }
  }
  return RetVal;
}

/**
  * @brief  Executes converter's state machine STOP STate Function
  * @param  None
  * @retval true/false
  */
bool DPC_FSM_STOP_Func(void)
{
bool RetVal = true;

  //DPC_MISC_BLED_Set(&DPC_BLED_TIM,DPC_BLED_CH,BLED_Stop);                                 ///DPC Bicolor LED SET to FSM_Stop
  DPC_FSM_State_Set(DPC_FSM_ERROR);

 return RetVal;
}

/**
* @brief  Executes converter's state machine ERR/FAUL STate Function
* @param  None
* @retval true/false
*/
bool DPC_FSM_ERROR_Func(void)
{
  bool RetVal = true;
  DPC_FAULTERROR_LIST_TypeDef eError;

  DPC_MISC_BLED_Set(&DPC_BLED_TIM,DPC_BLED_CH,BLED_Error);                                ///DPC Bicolor LED SET to FSM_Error
  eError = DPC_FLT_Faulterror_Check();

  if(eError & FAULT_MASK){
    DPC_PWM_OutDisable();                                                                   ///Safe: Disable PWM outputs if enabled
    //DPC_MISC_RELAY_Cntl(RELAY_GRID_ABC, RELAY_OFF);                                         ///Safe: Disconnect teh AC main
    HAL_GPIO_WritePin(GPIOA, Relay_Pin, GPIO_PIN_RESET);
    //Fault detected
    RetVal = false;
    DPC_FSM_State_Set(DPC_FSM_FAULT);
  }
  else if(eError & ERROR_MASK){
    //put here the error recovery
    if(DPC_FLT_Faulterror_Check()==ERROR_PFC_UVLO)
    {
      if(PC_State==FSM_Run){
        DPC_PWM_OutDisable();                                                                   ///Safe: Disable PWM outputs if enabled
//        DPC_MISC_RELAY_Cntl(RELAY_GRID_ABC, RELAY_OFF);                                         ///Safe: Disconnect teh AC main
        HAL_GPIO_WritePin(GPIOA, Relay_Pin, GPIO_PIN_RESET);
        DPC_FLT_Faulterror_Set(FAULT_PFC_UVLO);
      }
    }
    else if(DPC_FLT_Faulterror_Check()==ERROR_PLL_OR)
    {
      if(PC_State==FSM_Run){
        DPC_PWM_OutDisable();                                                                   ///Safe: Disable PWM outputs if enabled
//        DPC_MISC_RELAY_Cntl(RELAY_GRID_ABC, RELAY_OFF);                                         ///Safe: Disconnect teh AC main
        HAL_GPIO_WritePin(GPIOA, Relay_Pin, GPIO_PIN_RESET);
        DPC_FLT_Faulterror_Set(FAULT_PLL_OR);
      }
    }
    else if(DPC_FLT_Faulterror_Check()==ERROR_AC_OFF)
    {
      if(PC_State==FSM_Run){
        DPC_PWM_OutDisable();                                                                   ///Safe: Disable PWM outputs if enabled
//        DPC_MISC_RELAY_Cntl(RELAY_GRID_ABC, RELAY_OFF);                                         ///Safe: Disconnect teh AC main
        HAL_GPIO_WritePin(GPIOA, Relay_Pin, GPIO_PIN_RESET);
        DPC_FLT_Faulterror_Set(FAULT_GEN);
      }
    }
    else if(DPC_FLT_Faulterror_Check()==ERROR_AC_UVLO)
    {
      if(PC_State==FSM_Run){
        DPC_PWM_OutDisable();                                                                   ///Safe: Disable PWM outputs if enabled
//        DPC_MISC_RELAY_Cntl(RELAY_GRID_ABC, RELAY_OFF);                                         ///Safe: Disconnect teh AC main
        HAL_GPIO_WritePin(GPIOA, Relay_Pin, GPIO_PIN_RESET);
        DPC_FLT_Faulterror_Set(FAULT_GEN);
      }
    }
//    else{
//        DPC_PWM_OutDisable();                                                                   ///Safe: Disable PWM outputs if enabled
//        DPC_MISC_RELAY_Cntl(RELAY_GRID_ABC, RELAY_OFF);                                         ///Safe: Disconnect teh AC main
//        DPC_FLT_Faulterror_Set(FAULT_GEN);
//    }
  }
  return RetVal;
}

/**
  * @brief  Executes converter's state machine FAULT STate Function
  * @param  None
  * @retval true/false
  */
bool DPC_FSM_FAULT_Func(void)
{
bool RetVal = true;
  DPC_MISC_BLED_Set(&DPC_BLED_TIM,DPC_BLED_CH,BLED_Fault);                                ///DPC Bicolor LED SET to FSM_Fault
  DPC_PWM_OutDisable();                                                                   ///Safe: Disable PWM outputs if enabled
  HAL_GPIO_WritePin(GPIOA, Relay_Pin, GPIO_PIN_RESET);
  //  DPC_MISC_RELAY_Cntl(RELAY_GRID_ABC, RELAY_OFF);                                         ///Safe: Disconnect teh AC main
  while(1)
  {
  }

  return RetVal;
}

void  DPC_MISC_Analog_Start(void){
  HAL_ADC_Start_DMA(&hadc1,p_ADC1_Data,ADC1_CHs);                              ///HAL_ADC_Start_DMA(ADC_HandleTypeDef* hadc, uint32_t* p_ADC1_Data, uint32_t Length)
}

void HAL_TIM_PeriodElapsedCallback(TIM_HandleTypeDef *htim)
{

	if (htim->Instance == TIM2)
	{
		DATA_Acquisition_from_DMA(p_ADC1_Data,p_ADC2_Data); //Pass ADC DMA Data in DATA LAYER

		//start READ variable from DATA LAYER
		ADC_Current_AC_ProcessData((uint32_t*)Read_Curr_GRID(),&CURRENT_ADC_AC_IN_NORM);                    /// Read Current AC from DATA Layer and pass it at CURRENT_ADC_AC_IN_NORM
		ADC_Current_AC_RAW_ProcessData((uint32_t*)Read_Curr_GRID(), &CURRENT_ADC_AC_IN_BITS);

		ADC2Phy_Current_ProcessData(&DPC_ADC_Conf,(uint32_t*)Read_Curr_GRID(),&CURRENT_ADC_AC_IN_PHY);      /// Read Current AC from DATA Layer and pass it at CURRENT_ADC_AC_IN_PHY
		ADC2Phy_RMS_Current_ProcessData(&CURRENT_ADC_AC_IN_PHY, &CURRENT_ADC_AC_IN_PHY_MIN, &CURRENT_ADC_AC_IN_PHY_MAX, &CURRENT_ADC_AC_IN_PHY_RMS, &Period_Counter);
		//ADC2Phy_MA_Current_ProcessData(&DPC_ADC_Conf,(uint32_t*)Read_Curr_GRID(), &ADC_AC_Current_MA,&CURRENT_ADC_AC_MA_IN_PHY);

		//end READ variable from DATA LAYER

		Status_Load=DPC_MISC_Check_DCLoad(&DPC_Load,DC_Load_Limit,&CURRENT_ADC_AC_IN_PHY_RMS);
		Status_Source=DPC_MISC_CHECK_AC_SOURCE(&AC_SOURCE,AC_Source_Limit,PLL_CONVERTER.pll_theta_out_2pi);  ///Check AC SOURCE state reading AC Voltage and curent

		Iabc_temp=*((TRANSFORM_ABC_t*)&CURRENT_ADC_AC_IN_NORM);                                             /// Sensing Current
		Iabc_Phy=*((TRANSFORM_ABC_t*)&CURRENT_ADC_AC_IN_PHY);                                               /// Sensing Current in Physical dimension

		Run_ClarkePark(&Iabc_temp, DATA_Read_Theta_PLL(),PLL_CONVERTER.pll_phi_2pi,&Current_qdo);
		//Run_ClarkePark(&Iabc_Phy, DATA_Read_Theta_PLL(),PLL_CONVERTER.pll_phi_2pi,&Current_qdo_Phy);

		DATA_CURR_Write_ClarkePark(Current_qdo);  // Current qdo in DATA layer
		//DATA_CURR_Write_ClarkePark(Current_qdo_Phy);  // Current qdo in DATA layer

		//PC_State=FSM_Run;

//		if (VOLTAGE_ADC_DC_IN_PHY.Vdc_tot>=360){
//			HAL_GPIO_WritePin(GPIOA, Relay_Pin, GPIO_PIN_SET);
//			Relay_state=1;
//			if (Timeout[0]>5000){
//
//			}
//		}
//		else if (VOLTAGE_ADC_DC_IN_PHY.Vdc_tot<355){
//			HAL_GPIO_WritePin(GPIOA, Relay_Pin, GPIO_PIN_RESET);
//			Relay_state=0;
//			Timeout[0]=0;
//		}
//		else {
//			Timeout[0]=0;
//		}

		//PC_State=FSM_StartUp_burst;
		//if (Status_Source!=OVERCURRENT_SOURCE) Status_Source=OK_SOURCE;
//		if (Status_Source==OK_SOURCE && Relay_state==1 && PLL_Status==PLL_SYNC && Status_Load!=OVERCURRENT_LOAD
//				&& Status_Load!=OVERVOLTAGE_CAP && Status_Load!=OVERVOLTAGE_LOAD){
//			FSM_Run_State = Run_PFC_Mode;
//			HAL_GPIO_WritePin(GPIOA, LED_HL1_Pin, GPIO_PIN_SET);
//
//		}
//		else {
//			FSM_Run_State = Run_Idle;
//			HAL_GPIO_WritePin(GPIOA, LED_HL1_Pin, GPIO_PIN_RESET);
//		}
//
		PC_State = FSM_Run;
		FSM_Run_State = Run_PFC_Mode;

		if (PC_State==FSM_Run)                                      ///__________FSM_Run________
		{
		  switch(FSM_Run_State){
		  case Run_PFC_Mode:
			DPC_LPCNTRL_PFC_Mode(&pPFC_CTRL,&pPI_VDC_CTRL,&VOLTAGECTRL,&CDC,&V_DQO_CTRL,&Current_qdo,&Voltage_qdo,&VOLTAGE_ADC_DC_IN_PHY); ///PFC CONTROL______
			Run_Inv_ClarkePark(&V_DQO_CTRL,PLL_CONVERTER.pll_theta_out_2pi,PLL_CONVERTER.pll_phi_2pi,&V_ABC_CTRL);                                  /// DQO to ABC Voltag to provide to modulator
			DPC_PWM_OutEnable(&tDPC_PWM);                                                                                                           ///PWM output will be enabled in PFC_Mode
			HAL_GPIO_WritePin(PFC_SW_SRC_GPIO_Port, PFC_SW_SRC_Pin, GPIO_PIN_SET);
			DPC_PWM_Send_Duty_SPWM(&tDPC_PWM,V_ABC_CTRL.axA,V_ABC_CTRL.axB,V_ABC_CTRL.axC,&DMA_HRTIM_SRC);                                                         ///MODULATOR
			  break;
		  case Run_Burst_Mode:
			//DPC_LPCNTRL_Burst_Mode((uint32_t*)Read_Volt_DC(),&BURST_CTRL,(uint32_t*)Read_Curr_DC(),&tDPC_PWM);
			DPC_LPCNTRL_Burst_Mode((uint32_t*)Read_Volt_DC(),&BURST_CTRL,&CURRENT_ADC_AC_IN_PHY_RMS,&tDPC_PWM, &DMA_HRTIM_SRC);
			DPC_LPCNTRL_PFC_Mode_Reset(&pPI_VDC_CTRL,&CDC);
			break;
		  case Run_Idle:
			//Idle_Mode();
			DPC_PWM_OutDisable();
			DPC_LPCNTRL_PFC_Mode_Reset(&pPI_VDC_CTRL,&CDC);
			break;
		  }
		}
		else if (PC_State==FSM_StartUp_burst)                        ///__________FSM_StartUp_burst__________
		{
		  //DPC_LPCNTRL_Burst_Mode((uint32_t*)Read_Volt_DC(),&STARTBURST_CTRL,(uint32_t*)Read_Curr_DC(),&tDPC_PWM);
		  DPC_LPCNTRL_Burst_Mode((uint32_t*)Read_Volt_DC(),&STARTBURST_CTRL,&CURRENT_ADC_AC_IN_PHY_RMS,&tDPC_PWM, &DMA_HRTIM_SRC);
		  DPC_PWM_OutEnable(&tDPC_PWM);
		  DPC_LPCNTRL_PFC_Mode_Reset(&pPI_VDC_CTRL,&CDC);
		}
		else if(PC_State==FSM_Fault)                                ///FSM_Fault
		{
		  DPC_PWM_OutDisable();
		  if(Trigger_Timestamp==SET){
		  Timestamp_PLL_CONVERTER=PLL_CONVERTER;
		  Trigger_Timestamp=RESET;
		  }
		}
		if (Status_Source==OK_SOURCE){
			Flag2=1;
		}
//		if (Service_step>=500){
//			Service_step=0;
//			if (Flag2==1){
//				Service_step=0;
//			}

//		}
//		if (DMA_HRTIM_SRC[0]!=0){
//			DMA_HRTIM_DST[2]=1;
//		}

//		Prev_Saturation = DMA_HRTIM_SRC[0];
		Flag = __HAL_HRTIM_GET_FLAG(&hhrtim1,HRTIM_FLAG_FLT1);

//		VOLTAGE_ADC_AC_IN_BITS.phA = (float)(Flag[0]);
//		Service_data[0][Service_step] = DMA_HRTIM_SRC.phA;
//		Service_data[1][Service_step] = DMA_HRTIM_SRC.phAB;
//		Service_data[2][Service_step] = V_DQO_CTRL.axd;
//		Service_data[3][Service_step] = DMA_HRTIM_SRC[0];

		//Service_data[4][Service_step]=__HAL_HRTIM_GETCOMPARE(&PWM_Tim1,HRTIM_TIMERINDEX_TIMER_A,HRTIM_COMPAREUNIT_1);
		//Service_step++;
	}
	else if(htim->Instance == TIM3){
		TimeoutMng();
		//Timeout[0]++;
	}
	else if(htim->Instance == TIM6){

	//start READ variable from DATA LAYER
	ADC_Voltage_AC_ProcessData((uint32_t*)Read_GRID(),&VOLTAGE_ADC_AC_IN_NORM);                         /// Read Voltage AC from DATA Layer and pass it at VOLTAGE_ADC_AC_IN_NORM
	ADC_Voltage_DC_ProcessData((uint32_t*)Read_Volt_DC(),&VOLTAGE_ADC_DC_IN_NORM);                      /// Read Voltage DC from DATA Layer and pass it at VOLTAGE_ADC_DC_IN_NORM
	//ADC_Current_DC_ProcessData((uint32_t*)Read_Curr_DC(),&CURRENT_ADC_DC_IN_NORM);                      /// Read Current DC from DATA Layer and pass it at CURRENT_ADC_DC_IN_NORM
	ADC2Phy_DC_Voltage_ProcessData(&DPC_ADC_Conf,(uint32_t*)Read_Volt_DC(),&VOLTAGE_ADC_DC_IN_PHY);     /// Read Voltage AC from DATA Layer and pass it at VOLTAGE_ADC_AC_IN_PHY
	ADC2Phy_Voltage_ProcessData(&DPC_ADC_Conf,(uint32_t*)Read_GRID(),&VOLTAGE_ADC_AC_IN_PHY);           /// Read Voltage DC from DATA Layer and pass it at VOLTAGE_ADC_DC_IN_PHY
	//ADC2Phy_DC_Current_ProcessData(&DPC_ADC_Conf,(uint32_t*)Read_Curr_DC(),&CURRENT_ADC_DC_IN_PHY);     /// Read Current DC from DATA Layer and pass it at CURRENT_ADC_DC_IN_PHY
	//Current_DC_Calc(&VOLTAGE_ADC_DC_IN_PHY, &VOLTAGE_ADC_AC_IN_PHY, &CURRENT_ADC_AC_IN_PHY, &CURRENT_ADC_DC_IN_PHY);
	//end Send QD FRAME data in DATA Layer

	if (Service_step>=1000){
		Service_step=0;
		Service_counter++;
		if (Service_counter>=10){
			Service_counter=0;
		}
//			if (Flag2==1){
//				Service_step=0;
//			}
	}

		Service_data[0][Service_step]=VOLTAGE_ADC_AC_IN_PHY.phA;
		Service_data[1][Service_step]=CURRENT_ADC_AC_IN_PHY.phA;
		Service_data[2][Service_step]=V_ABC_CTRL.axA;
		Service_data[3][Service_step]=CURRENT_ADC_AC_IN_PHY_RMS.phC;
		Service_data[4][Service_step]=CURRENT_ADC_AC_IN_PHY.phA;
		Service_data[5][Service_step]=CURRENT_ADC_AC_IN_PHY.phB;
		Service_data[6][Service_step]=CURRENT_ADC_AC_IN_PHY.phC;
//
//		Service_data[6][Service_step]=V_ABC_CTRL.axA;

//		Service_data[8][Service_step]=V_ABC_CTRL.axC;

	//start Auxiliary Data for Frame Transfrormation
	Vabc_temp=*((TRANSFORM_ABC_t*)&VOLTAGE_ADC_AC_IN_NORM);                                             /// Sensing Voltage
	Vabc_Phy=*((TRANSFORM_ABC_t*)&VOLTAGE_ADC_AC_IN_PHY);                                               /// Sensing Voltage in Physical dimension
	//end Auxiliary Data for Frame Transfrormation

	//start Frame Trasformation
	Run_ClarkePark(&Vabc_temp, DATA_Read_Theta_PLL(),PLL_CONVERTER.pll_phi_2pi,&Voltage_qdo);
	Run_ClarkePark(&Vabc_Phy, DATA_Read_Theta_PLL(),PLL_CONVERTER.pll_phi_2pi,&Voltage_qdo_Phy);        ///
	//end Frame Trasformation

	//start Send QD FRAME data in DATA Layer
	DATA_VOLT_Write_ClarkePark(Voltage_qdo);                                                            /// Voltage qdo in DATA layer
	//end Send QD FRAME data in DATA Layer

	VOLTAGE_AC_qd_IN_NORM=*((VoltageAC_qd_PLL_Struct*)&Voltage_qdo);                                    ///Auxiliary Data for PLL
	PLL_Status=DPC_PLL_pllqd_Run(&PLL_CONVERTER,&VOLTAGE_AC_qd_IN_NORM,&theta_out_pll,&omega_out_pll);  ///PLL Phase Extimation
	DATA_Write_Theta_PLL(PLL_CONVERTER.pll_theta_out_2pi);                                              ///Pass Theta to DATA LAYER

	Service_step++;
	}

}

void HAL_HRTIM_Fault1Callback(HRTIM_HandleTypeDef *hhrtim){
	DPC_FLT_Faulterror_Set(FAULT_OCS);

}
void HAL_HRTIM_Fault3Callback(HRTIM_HandleTypeDef *hhrtim){
	DPC_FLT_Faulterror_Set(FAULT_OCS);
}

/* USER CODE END 4 */

void Error_Handler(void)
{
  __disable_irq();
  while (1)
  {
  }
}

/************************ (C) COPYRIGHT STMicroelectronics *****END OF FILE****/
